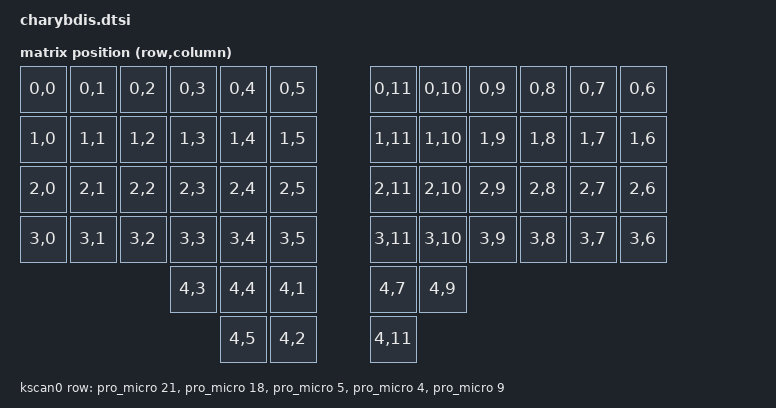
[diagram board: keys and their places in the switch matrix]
#include <dt-bindings/zmk/matrix_transform.h>
#include <physical_layouts.dtsi>

/ {
    chosen {
        zmk,kscan = &kscan0;
        zmk,physical-layout = &default_layout;
    };

    default_transform: keymap_transform_0 {
		compatible = "zmk,matrix-transform";
        columns = <12>;
        rows = <5>;

        map = <
			RC(0,0) RC(0,1) RC(0,2) RC(0,3) RC(0,4) RC(0,5)                   RC(0,11) RC(0,10) RC(0,9) RC(0,8) RC(0,7) RC(0,6)
			RC(1,0) RC(1,1) RC(1,2) RC(1,3) RC(1,4) RC(1,5)                   RC(1,11) RC(1,10) RC(1,9) RC(1,8) RC(1,7) RC(1,6)
			RC(2,0) RC(2,1) RC(2,2) RC(2,3) RC(2,4) RC(2,5)                   RC(2,11) RC(2,10) RC(2,9) RC(2,8) RC(2,7) RC(2,6)
			RC(3,0) RC(3,1) RC(3,2) RC(3,3) RC(3,4) RC(3,5)                   RC(3,11) RC(3,10) RC(3,9) RC(3,8) RC(3,7) RC(3,6)
						RC(4,3) RC(4,4) RC(4,1)                   RC(4,7) RC(4,9)
							RC(4,5) RC(4,2)                   RC(4,11)
        >;
    };

    default_layout: default_layout {
        compatible = "zmk,physical-layout";
        display-name = "Charybdis 4x6";
        transform = <&default_transform>;

        // keys order matches the matrix transform map above;
        // physical positions mirror the layout metadata (config/charybdis.json),
        // with the gap between the halves at x=6. Unit: centi-keyunits (1u = 100).
        keys //                       w    h    x    y   rot   rx    ry
            = <&key_physical_attrs  100  100    0    0     0     0     0>
            , <&key_physical_attrs  100  100  100    0     0     0     0>
            , <&key_physical_attrs  100  100  200    0     0     0     0>
            , <&key_physical_attrs  100  100  300    0     0     0     0>
            , <&key_physical_attrs  100  100  400    0     0     0     0>
            , <&key_physical_attrs  100  100  500    0     0     0     0>
            , <&key_physical_attrs  100  100  700    0     0     0     0>
            , <&key_physical_attrs  100  100  800    0     0     0     0>
            , <&key_physical_attrs  100  100  900    0     0     0     0>
            , <&key_physical_attrs  100  100 1000    0     0     0     0>
            , <&key_physical_attrs  100  100 1100    0     0     0     0>
            , <&key_physical_attrs  100  100 1200    0     0     0     0>

            , <&key_physical_attrs  100  100    0  100     0     0     0>
            , <&key_physical_attrs  100  100  100  100     0     0     0>
            , <&key_physical_attrs  100  100  200  100     0     0     0>
            , <&key_physical_attrs  100  100  300  100     0     0     0>
            , <&key_physical_attrs  100  100  400  100     0     0     0>
            , <&key_physical_attrs  100  100  500  100     0     0     0>
            , <&key_physical_attrs  100  100  700  100     0     0     0>
            , <&key_physical_attrs  100  100  800  100     0     0     0>
            , <&key_physical_attrs  100  100  900  100     0     0     0>
            , <&key_physical_attrs  100  100 1000  100     0     0     0>
            , <&key_physical_attrs  100  100 1100  100     0     0     0>
            , <&key_physical_attrs  100  100 1200  100     0     0     0>

            , <&key_physical_attrs  100  100    0  200     0     0     0>
            , <&key_physical_attrs  100  100  100  200     0     0     0>
            , <&key_physical_attrs  100  100  200  200     0     0     0>
            , <&key_physical_attrs  100  100  300  200     0     0     0>
            , <&key_physical_attrs  100  100  400  200     0     0     0>
            , <&key_physical_attrs  100  100  500  200     0     0     0>
            , <&key_physical_attrs  100  100  700  200     0     0     0>
            , <&key_physical_attrs  100  100  800  200     0     0     0>
            , <&key_physical_attrs  100  100  900  200     0     0     0>
            , <&key_physical_attrs  100  100 1000  200     0     0     0>
            , <&key_physical_attrs  100  100 1100  200     0     0     0>
            , <&key_physical_attrs  100  100 1200  200     0     0     0>

            , <&key_physical_attrs  100  100    0  300     0     0     0>
            , <&key_physical_attrs  100  100  100  300     0     0     0>
            , <&key_physical_attrs  100  100  200  300     0     0     0>
            , <&key_physical_attrs  100  100  300  300     0     0     0>
            , <&key_physical_attrs  100  100  400  300     0     0     0>
            , <&key_physical_attrs  100  100  500  300     0     0     0>
            , <&key_physical_attrs  100  100  700  300     0     0     0>
            , <&key_physical_attrs  100  100  800  300     0     0     0>
            , <&key_physical_attrs  100  100  900  300     0     0     0>
            , <&key_physical_attrs  100  100 1000  300     0     0     0>
            , <&key_physical_attrs  100  100 1100  300     0     0     0>
            , <&key_physical_attrs  100  100 1200  300     0     0     0>

            , <&key_physical_attrs  100  100  300  400     0     0     0>
            , <&key_physical_attrs  100  100  400  400     0     0     0>
            , <&key_physical_attrs  100  100  500  400     0     0     0>
            , <&key_physical_attrs  100  100  700  400     0     0     0>
            , <&key_physical_attrs  100  100  800  400     0     0     0>

            , <&key_physical_attrs  100  100  400  500     0     0     0>
            , <&key_physical_attrs  100  100  500  500     0     0     0>
            , <&key_physical_attrs  100  100  700  500     0     0     0>
            ;
    };

    kscan0: kscan {
        compatible = "zmk,kscan-gpio-matrix";
        label = "KSCAN";

        diode-direction = "row2col";
		row-gpios
            = <&pro_micro 21 (GPIO_ACTIVE_HIGH)>
	    , <&pro_micro 18 (GPIO_ACTIVE_HIGH)>
            , <&pro_micro 5 (GPIO_ACTIVE_HIGH)>
            , <&pro_micro 4 (GPIO_ACTIVE_HIGH)>
	    , <&pro_micro 9 (GPIO_ACTIVE_HIGH)>
            ;
    };

    trackball_listener: trackball_listener {
        compatible = "zmk,input-listener";
        status = "disabled";
    };
};
